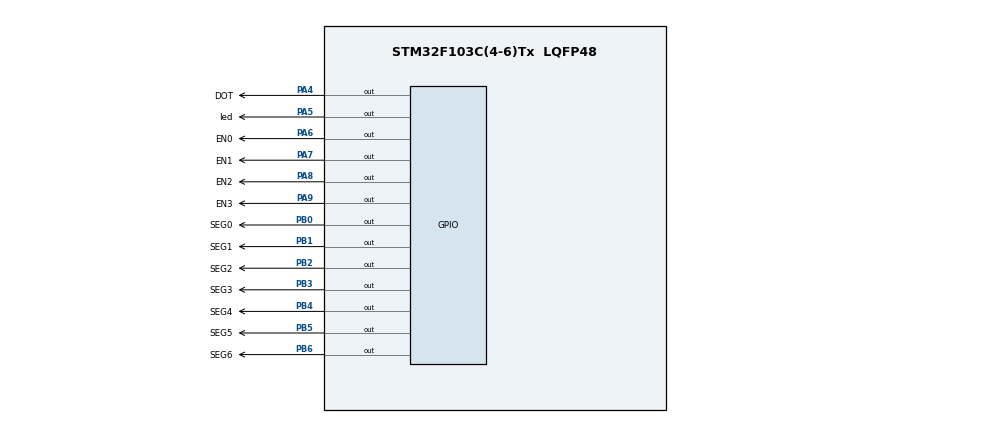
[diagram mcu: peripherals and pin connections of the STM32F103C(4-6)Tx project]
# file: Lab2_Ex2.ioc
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Mcu.Family=STM32F1
Mcu.Name=STM32F103C(4-6)Tx
Mcu.Package=LQFP48
NVIC.PriorityGroup=NVIC_PRIORITYGROUP_4
NVIC.TIM2_IRQn=true\:0\:0\:false\:false\:true\:true\:true
PA4.GPIO_Label=DOT
PA4.Signal=GPIO_Output
PA5.GPIO_Label=led
PA5.Signal=GPIO_Output
PA6.GPIO_Label=EN0
PA6.Signal=GPIO_Output
PA7.GPIO_Label=EN1
PA7.Signal=GPIO_Output
PA8.GPIO_Label=EN2
PA8.Signal=GPIO_Output
PA9.GPIO_Label=EN3
PA9.Signal=GPIO_Output
PB0.GPIO_Label=SEG0
PB0.Signal=GPIO_Output
PB1.GPIO_Label=SEG1
PB1.Signal=GPIO_Output
PB2.GPIO_Label=SEG2
PB2.Signal=GPIO_Output
PB3.GPIO_Label=SEG3
PB3.Signal=GPIO_Output
PB4.GPIO_Label=SEG4
PB4.Signal=GPIO_Output
PB5.GPIO_Label=SEG5
PB5.Signal=GPIO_Output
PB6.GPIO_Label=SEG6
PB6.Signal=GPIO_Output
ProjectManager.HeapSize=0x200
ProjectManager.StackSize=0x400
ProjectManager.TargetToolchain=STM32CubeIDE
RCC.APB1Freq_Value=8000000
RCC.APB2Freq_Value=8000000
TIM2.Period=9
TIM2.Prescaler=7999
VP_SYS_VS_ND.Mode=No_Debug
VP_TIM2_VS_ClockSourceINT.Mode=Internal
board=custom

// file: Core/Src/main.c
/* USER CODE BEGIN Header */
/**
  ******************************************************************************
  * @file           : main.c
  * @brief          : Main program body
  ******************************************************************************
  * @attention
  *
  * <h2><center>&copy; Copyright (c) 2021 STMicroelectronics.
  * All rights reserved.</center></h2>
  *
  * This software component is licensed by ST under BSD 3-Clause license,
  * the "License"; You may not use this file except in compliance with the
  * License. You may obtain a copy of the License at:
  *                        opensource.org/licenses/BSD-3-Clause
  *
  ******************************************************************************
  */
/* USER CODE END Header */
#include "main.h"

TIM_HandleTypeDef htim2;

void SystemClock_Config(void);
static void MX_GPIO_Init(void);
static void MX_TIM2_Init(void);

/* USER CODE BEGIN 0 */
void display7SEG(int num){
	switch(num){
	case 0:
		HAL_GPIO_WritePin(SEG0_GPIO_Port, SEG0_Pin, GPIO_PIN_RESET);
		HAL_GPIO_WritePin(SEG1_GPIO_Port, SEG1_Pin, GPIO_PIN_RESET);
		HAL_GPIO_WritePin(SEG2_GPIO_Port, SEG2_Pin, GPIO_PIN_RESET);
		HAL_GPIO_WritePin(SEG3_GPIO_Port, SEG3_Pin, GPIO_PIN_RESET);
		HAL_GPIO_WritePin(SEG4_GPIO_Port, SEG4_Pin, GPIO_PIN_RESET);
		HAL_GPIO_WritePin(SEG5_GPIO_Port, SEG5_Pin, GPIO_PIN_RESET);
		HAL_GPIO_WritePin(SEG6_GPIO_Port, SEG6_Pin, GPIO_PIN_SET);
		break;
	case 1:
		HAL_GPIO_WritePin(SEG0_GPIO_Port, SEG0_Pin, GPIO_PIN_SET);
		HAL_GPIO_WritePin(SEG1_GPIO_Port, SEG1_Pin, GPIO_PIN_RESET);
		HAL_GPIO_WritePin(SEG2_GPIO_Port, SEG2_Pin, GPIO_PIN_RESET);
		HAL_GPIO_WritePin(SEG3_GPIO_Port, SEG3_Pin, GPIO_PIN_SET);
		HAL_GPIO_WritePin(SEG4_GPIO_Port, SEG4_Pin, GPIO_PIN_SET);
		HAL_GPIO_WritePin(SEG5_GPIO_Port, SEG5_Pin, GPIO_PIN_SET);
		HAL_GPIO_WritePin(SEG6_GPIO_Port, SEG6_Pin, GPIO_PIN_SET);
		break;
	case 2:
		HAL_GPIO_WritePin(SEG0_GPIO_Port, SEG0_Pin, GPIO_PIN_RESET);
		HAL_GPIO_WritePin(SEG1_GPIO_Port, SEG1_Pin, GPIO_PIN_RESET);
		HAL_GPIO_WritePin(SEG2_GPIO_Port, SEG2_Pin, GPIO_PIN_SET);
		HAL_GPIO_WritePin(SEG3_GPIO_Port, SEG3_Pin, GPIO_PIN_RESET);
		HAL_GPIO_WritePin(SEG4_GPIO_Port, SEG4_Pin, GPIO_PIN_RESET);
		HAL_GPIO_WritePin(SEG5_GPIO_Port, SEG5_Pin, GPIO_PIN_SET);
		HAL_GPIO_WritePin(SEG6_GPIO_Port, SEG6_Pin, GPIO_PIN_RESET);
		break;
	case 3:
		HAL_GPIO_WritePin(SEG0_GPIO_Port, SEG0_Pin, GPIO_PIN_RESET);
		HAL_GPIO_WritePin(SEG1_GPIO_Port, SEG1_Pin, GPIO_PIN_RESET);
		HAL_GPIO_WritePin(SEG2_GPIO_Port, SEG2_Pin, GPIO_PIN_RESET);
		HAL_GPIO_WritePin(SEG3_GPIO_Port, SEG3_Pin, GPIO_PIN_RESET);
		HAL_GPIO_WritePin(SEG4_GPIO_Port, SEG4_Pin, GPIO_PIN_SET);
		HAL_GPIO_WritePin(SEG5_GPIO_Port, SEG5_Pin, GPIO_PIN_SET);
		HAL_GPIO_WritePin(SEG6_GPIO_Port, SEG6_Pin, GPIO_PIN_RESET);
		break;
	case 4:
		HAL_GPIO_WritePin(SEG0_GPIO_Port, SEG0_Pin, GPIO_PIN_SET);
		HAL_GPIO_WritePin(SEG1_GPIO_Port, SEG1_Pin, GPIO_PIN_RESET);
		HAL_GPIO_WritePin(SEG2_GPIO_Port, SEG2_Pin, GPIO_PIN_RESET);
		HAL_GPIO_WritePin(SEG3_GPIO_Port, SEG3_Pin, GPIO_PIN_SET);
		HAL_GPIO_WritePin(SEG4_GPIO_Port, SEG4_Pin, GPIO_PIN_SET);
		HAL_GPIO_WritePin(SEG5_GPIO_Port, SEG5_Pin, GPIO_PIN_RESET);
		HAL_GPIO_WritePin(SEG6_GPIO_Port, SEG6_Pin, GPIO_PIN_RESET);
		break;
	case 5:
		HAL_GPIO_WritePin(SEG0_GPIO_Port, SEG0_Pin, GPIO_PIN_RESET);
		HAL_GPIO_WritePin(SEG1_GPIO_Port, SEG1_Pin, GPIO_PIN_SET);
		HAL_GPIO_WritePin(SEG2_GPIO_Port, SEG2_Pin, GPIO_PIN_RESET);
		HAL_GPIO_WritePin(SEG3_GPIO_Port, SEG3_Pin, GPIO_PIN_RESET);
		HAL_GPIO_WritePin(SEG4_GPIO_Port, SEG4_Pin, GPIO_PIN_SET);
		HAL_GPIO_WritePin(SEG5_GPIO_Port, SEG5_Pin, GPIO_PIN_RESET);
		HAL_GPIO_WritePin(SEG6_GPIO_Port, SEG6_Pin, GPIO_PIN_RESET);
		break;
	case 6:
		HAL_GPIO_WritePin(SEG0_GPIO_Port, SEG0_Pin, GPIO_PIN_RESET);
		HAL_GPIO_WritePin(SEG1_GPIO_Port, SEG1_Pin, GPIO_PIN_SET);
		HAL_GPIO_WritePin(SEG2_GPIO_Port, SEG2_Pin, GPIO_PIN_RESET);
		HAL_GPIO_WritePin(SEG3_GPIO_Port, SEG3_Pin, GPIO_PIN_RESET);
		HAL_GPIO_WritePin(SEG4_GPIO_Port, SEG4_Pin, GPIO_PIN_RESET);
		HAL_GPIO_WritePin(SEG5_GPIO_Port, SEG5_Pin, GPIO_PIN_RESET);
		HAL_GPIO_WritePin(SEG6_GPIO_Port, SEG6_Pin, GPIO_PIN_RESET);
		break;
	case 7:
		HAL_GPIO_WritePin(SEG0_GPIO_Port, SEG0_Pin, GPIO_PIN_RESET);
		HAL_GPIO_WritePin(SEG1_GPIO_Port, SEG1_Pin, GPIO_PIN_RESET);
		HAL_GPIO_WritePin(SEG2_GPIO_Port, SEG2_Pin, GPIO_PIN_RESET);
		HAL_GPIO_WritePin(SEG3_GPIO_Port, SEG3_Pin, GPIO_PIN_SET);
		HAL_GPIO_WritePin(SEG4_GPIO_Port, SEG4_Pin, GPIO_PIN_SET);
		HAL_GPIO_WritePin(SEG5_GPIO_Port, SEG5_Pin, GPIO_PIN_SET);
		HAL_GPIO_WritePin(SEG6_GPIO_Port, SEG6_Pin, GPIO_PIN_SET);
		break;
	case 8:
		HAL_GPIO_WritePin(SEG0_GPIO_Port, SEG0_Pin, GPIO_PIN_RESET);
		HAL_GPIO_WritePin(SEG1_GPIO_Port, SEG1_Pin, GPIO_PIN_RESET);
		HAL_GPIO_WritePin(SEG2_GPIO_Port, SEG2_Pin, GPIO_PIN_RESET);
		HAL_GPIO_WritePin(SEG3_GPIO_Port, SEG3_Pin, GPIO_PIN_RESET);
		HAL_GPIO_WritePin(SEG4_GPIO_Port, SEG4_Pin, GPIO_PIN_RESET);
		HAL_GPIO_WritePin(SEG5_GPIO_Port, SEG5_Pin, GPIO_PIN_RESET);
		HAL_GPIO_WritePin(SEG6_GPIO_Port, SEG6_Pin, GPIO_PIN_RESET);
		break;
	case 9:
			HAL_GPIO_WritePin(SEG0_GPIO_Port, SEG0_Pin, GPIO_PIN_RESET);
			HAL_GPIO_WritePin(SEG1_GPIO_Port, SEG1_Pin, GPIO_PIN_RESET);
			HAL_GPIO_WritePin(SEG2_GPIO_Port, SEG2_Pin, GPIO_PIN_RESET);
			HAL_GPIO_WritePin(SEG3_GPIO_Port, SEG3_Pin, GPIO_PIN_RESET);
			HAL_GPIO_WritePin(SEG4_GPIO_Port, SEG4_Pin, GPIO_PIN_SET);
			HAL_GPIO_WritePin(SEG5_GPIO_Port, SEG5_Pin, GPIO_PIN_RESET);
			HAL_GPIO_WritePin(SEG6_GPIO_Port, SEG6_Pin, GPIO_PIN_RESET);
			break;
	}

}

/* USER CODE END 0 */

int main(void)
{

  /* MCU Configuration--------------------------------------------------------*/

  /* Reset of all peripherals, Initializes the Flash interface and the Systick. */
  HAL_Init();

  /* Configure the system clock */
  SystemClock_Config();

  /* Initialize all configured peripherals */
  MX_GPIO_Init();
  MX_TIM2_Init();
  /* USER CODE BEGIN 2 */
  HAL_TIM_Base_Start_IT(&htim2);
  /* USER CODE END 2 */

  /* Infinite loop */
  while (1)
  {

  }
}

void SystemClock_Config(void)
{
  RCC_OscInitTypeDef RCC_OscInitStruct = {0};
  RCC_ClkInitTypeDef RCC_ClkInitStruct = {0};

  /** Initializes the RCC Oscillators according to the specified parameters
  * in the RCC_OscInitTypeDef structure.
  */
  RCC_OscInitStruct.OscillatorType = RCC_OSCILLATORTYPE_HSI;
  RCC_OscInitStruct.HSIState = RCC_HSI_ON;
  RCC_OscInitStruct.HSICalibrationValue = RCC_HSICALIBRATION_DEFAULT;
  RCC_OscInitStruct.PLL.PLLState = RCC_PLL_NONE;
  if (HAL_RCC_OscConfig(&RCC_OscInitStruct) != HAL_OK)
  {
    Error_Handler();
  }
  /** Initializes the CPU, AHB and APB buses clocks
  */
  RCC_ClkInitStruct.ClockType = RCC_CLOCKTYPE_HCLK|RCC_CLOCKTYPE_SYSCLK
                              |RCC_CLOCKTYPE_PCLK1|RCC_CLOCKTYPE_PCLK2;
  RCC_ClkInitStruct.SYSCLKSource = RCC_SYSCLKSOURCE_HSI;
  RCC_ClkInitStruct.AHBCLKDivider = RCC_SYSCLK_DIV1;
  RCC_ClkInitStruct.APB1CLKDivider = RCC_HCLK_DIV1;
  RCC_ClkInitStruct.APB2CLKDivider = RCC_HCLK_DIV1;

  if (HAL_RCC_ClockConfig(&RCC_ClkInitStruct, FLASH_LATENCY_0) != HAL_OK)
  {
    Error_Handler();
  }
}

static void MX_TIM2_Init(void)
{

  TIM_ClockConfigTypeDef sClockSourceConfig = {0};
  TIM_MasterConfigTypeDef sMasterConfig = {0};

  htim2.Instance = TIM2;
  htim2.Init.Prescaler = 7999;
  htim2.Init.CounterMode = TIM_COUNTERMODE_UP;
  htim2.Init.Period = 9;
  htim2.Init.ClockDivision = TIM_CLOCKDIVISION_DIV1;
  htim2.Init.AutoReloadPreload = TIM_AUTORELOAD_PRELOAD_DISABLE;
  if (HAL_TIM_Base_Init(&htim2) != HAL_OK)
  {
    Error_Handler();
  }
  sClockSourceConfig.ClockSource = TIM_CLOCKSOURCE_INTERNAL;
  if (HAL_TIM_ConfigClockSource(&htim2, &sClockSourceConfig) != HAL_OK)
  {
    Error_Handler();
  }
  sMasterConfig.MasterOutputTrigger = TIM_TRGO_RESET;
  sMasterConfig.MasterSlaveMode = TIM_MASTERSLAVEMODE_DISABLE;
  if (HAL_TIMEx_MasterConfigSynchronization(&htim2, &sMasterConfig) != HAL_OK)
  {
    Error_Handler();
  }

}

static void MX_GPIO_Init(void)
{
  GPIO_InitTypeDef GPIO_InitStruct = {0};

  /* GPIO Ports Clock Enable */
  __HAL_RCC_GPIOA_CLK_ENABLE();
  __HAL_RCC_GPIOB_CLK_ENABLE();

  /*Configure GPIO pin Output Level */
  HAL_GPIO_WritePin(GPIOA, DOT_Pin|led_Pin|EN0_Pin|EN1_Pin
                          |EN2_Pin|EN3_Pin, GPIO_PIN_RESET);

  /*Configure GPIO pin Output Level */
  HAL_GPIO_WritePin(GPIOB, SEG0_Pin|SEG1_Pin|SEG2_Pin|SEG3_Pin
                          |SEG4_Pin|SEG5_Pin|SEG6_Pin, GPIO_PIN_RESET);

  /*Configure GPIO pins : DOT_Pin led_Pin EN0_Pin EN1_Pin
                           EN2_Pin EN3_Pin */
  GPIO_InitStruct.Pin = DOT_Pin|led_Pin|EN0_Pin|EN1_Pin
                          |EN2_Pin|EN3_Pin;
  GPIO_InitStruct.Mode = GPIO_MODE_OUTPUT_PP;
  GPIO_InitStruct.Pull = GPIO_NOPULL;
  GPIO_InitStruct.Speed = GPIO_SPEED_FREQ_LOW;
  HAL_GPIO_Init(GPIOA, &GPIO_InitStruct);

  /*Configure GPIO pins : SEG0_Pin SEG1_Pin SEG2_Pin SEG3_Pin
                           SEG4_Pin SEG5_Pin SEG6_Pin */
  GPIO_InitStruct.Pin = SEG0_Pin|SEG1_Pin|SEG2_Pin|SEG3_Pin
                          |SEG4_Pin|SEG5_Pin|SEG6_Pin;
  GPIO_InitStruct.Mode = GPIO_MODE_OUTPUT_PP;
  GPIO_InitStruct.Pull = GPIO_NOPULL;
  GPIO_InitStruct.Speed = GPIO_SPEED_FREQ_LOW;
  HAL_GPIO_Init(GPIOB, &GPIO_InitStruct);

}

/* USER CODE BEGIN 4 */
int counterLed = 100;
int counterSeg = 200;
 void HAL_TIM_PeriodElapsedCallback ( TIM_HandleTypeDef * htim )
{
	counterLed--;
	 if( counterLed <= 0) {
		 counterLed = 100;
		 HAL_GPIO_TogglePin ( led_GPIO_Port , led_Pin ) ;
		 HAL_GPIO_TogglePin ( DOT_GPIO_Port , DOT_Pin ) ;
	 }

	 if(counterSeg ==200){
		 //counterSeg =100;
		 HAL_GPIO_WritePin(EN0_GPIO_Port, EN0_Pin,  GPIO_PIN_RESET);
		 HAL_GPIO_WritePin(EN1_GPIO_Port, EN1_Pin,  GPIO_PIN_SET);
		 HAL_GPIO_WritePin(EN1_GPIO_Port, EN2_Pin,  GPIO_PIN_SET);
		 HAL_GPIO_WritePin(EN1_GPIO_Port, EN3_Pin,  GPIO_PIN_SET);
		 display7SEG(1);
	 }
	 if(counterSeg ==150){

		 HAL_GPIO_WritePin(EN0_GPIO_Port, EN0_Pin,  GPIO_PIN_SET);
		 HAL_GPIO_WritePin(EN1_GPIO_Port, EN1_Pin,  GPIO_PIN_RESET);
		 HAL_GPIO_WritePin(EN1_GPIO_Port, EN2_Pin,  GPIO_PIN_SET);
		 HAL_GPIO_WritePin(EN1_GPIO_Port, EN3_Pin,  GPIO_PIN_SET);
		 display7SEG(2);
	 }
	 if(counterSeg ==100){

		 HAL_GPIO_WritePin(EN0_GPIO_Port, EN0_Pin,  GPIO_PIN_SET);
		 HAL_GPIO_WritePin(EN1_GPIO_Port, EN1_Pin,  GPIO_PIN_SET);
		 HAL_GPIO_WritePin(EN1_GPIO_Port, EN2_Pin,  GPIO_PIN_RESET);
		 HAL_GPIO_WritePin(EN1_GPIO_Port, EN3_Pin,  GPIO_PIN_SET);
		 display7SEG(3);
	 }
	 if(counterSeg ==50){

		 HAL_GPIO_WritePin(EN0_GPIO_Port, EN0_Pin,  GPIO_PIN_SET);
		 HAL_GPIO_WritePin(EN1_GPIO_Port, EN1_Pin,  GPIO_PIN_SET);
		 HAL_GPIO_WritePin(EN1_GPIO_Port, EN2_Pin,  GPIO_PIN_SET);
		 HAL_GPIO_WritePin(EN1_GPIO_Port, EN3_Pin,  GPIO_PIN_RESET);
		 display7SEG(0);
	 }
	 counterSeg--;
	 if(counterSeg <=0){
		 counterSeg =200;

	 }
 }
/* USER CODE END 4 */

void Error_Handler(void)
{
  __disable_irq();
  while (1)
  {
  }
}

/************************ (C) COPYRIGHT STMicroelectronics *****END OF FILE****/
